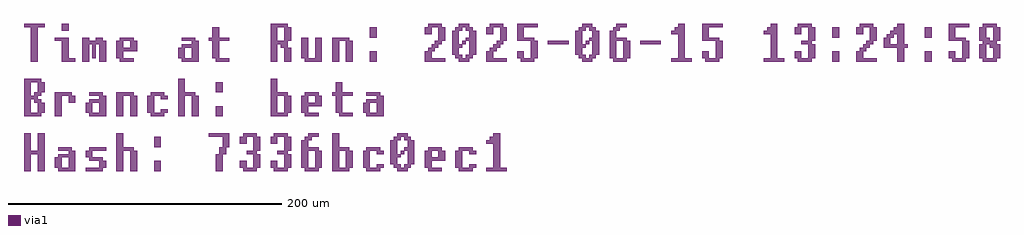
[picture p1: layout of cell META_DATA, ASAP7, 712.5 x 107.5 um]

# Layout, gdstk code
import gdstk
lib = gdstk.Library(unit=1e-6, precision=1e-10)
def R(c, l, rs):  # rectangles x0, y0, x1, y1
    for r in rs: c.add(gdstk.rectangle(r[:2], r[2:], *l))
def P(c, l, *ps):  # polygons
    for p in ps: c.add(gdstk.Polygon(p, *l))
via1 = (21, 0)

meta_data = lib.new_cell('META_DATA')
R(meta_data, via1, [(97.5,7.5,102.5,15), (277.5,20,280,22.5), (97.5,25,102.5,32.5), (142.5,47.5,147.5,55), (142.5,65,147.5,72.5), (255,87.5,260,95), (592.5,87.5,597.5,95), (660,87.5,665,95), (322.5,100,325,102.5), (385,100,400,102.5), (412.5,100,415,102.5), (452.5,100,467.5,102.5), (255,105,260,112.5), (592.5,105,597.5,112.5), (660,105,665,112.5), (30,110,35,115)])
P(meta_data, via1, [(7.5,7.5),(7.5,20),(12.5,20),(12.5,7.5),(17.5,7.5),(17.5,35),(12.5,35),(12.5,22.5),(7.5,22.5),(7.5,35),(2.5,35),(2.5,7.5)],
  [(37.5,22.5),(37.5,25),(27.5,25),(27.5,22.5),(35,22.5),(35,20),(27.5,20),(27.5,17.5),(25,17.5),(25,10),(30,10),(30,17.5),(35,17.5),(35,10),(30,10),(25,10),(27.5,10),(27.5,7.5),(40,7.5),(40,22.5)],
  [(47.5,17.5),(50,17.5),(50,15),(57.5,15),(57.5,10),(47.5,10),(47.5,7.5),(60,7.5),(60,10),(62.5,10),(62.5,15),(60,15),(60,17.5),(52.5,17.5),(52.5,22.5),(62.5,22.5),(62.5,25),(50,25),(50,22.5),(47.5,22.5)],
  [(75,7.5),(75,22.5),(80,22.5),(80,7.5),(85,7.5),(85,22.5),(82.5,22.5),(82.5,25),(75,25),(75,35),(70,35),(70,7.5)],
  [(147.5,25),(145,25),(145,20),(142.5,20),(142.5,7.5),(147.5,7.5),(147.5,20),(150,20),(150,25),(152.5,25),(152.5,35),(137.5,35),(137.5,32.5),(147.5,32.5)],
  [(162.5,10),(162.5,7.5),(172.5,7.5),(172.5,10),(175,10),(175,20),(172.5,20),(172.5,22.5),(175,22.5),(175,32.5),(172.5,32.5),(172.5,35),(162.5,35),(162.5,32.5),(160,32.5),(160,27.5),(165,27.5),(165,32.5),(170,32.5),(170,22.5),(165,22.5),(165,20),(170,20),(170,10),(165,10),(165,15),(160,15),(160,10)],
  [(185,10),(185,7.5),(195,7.5),(195,10),(197.5,10),(197.5,20),(195,20),(195,22.5),(197.5,22.5),(197.5,32.5),(195,32.5),(195,35),(185,35),(185,32.5),(182.5,32.5),(182.5,27.5),(187.5,27.5),(187.5,32.5),(192.5,32.5),(192.5,22.5),(187.5,22.5),(187.5,20),(192.5,20),(192.5,10),(187.5,10),(187.5,15),(182.5,15),(182.5,10)],
  [(220,22.5),(217.5,22.5),(217.5,25),(210,25),(210,30),(212.5,30),(212.5,32.5),(217.5,32.5),(217.5,35),(210,35),(210,32.5),(207.5,32.5),(207.5,30),(205,30),(205,10),(210,10),(210,22.5),(215,22.5),(215,10),(210,10),(205,10),(207.5,10),(207.5,7.5),(217.5,7.5),(217.5,10),(220,10)],
  [(242.5,22.5),(240,22.5),(240,25),(232.5,25),(232.5,35),(227.5,35),(227.5,10),(232.5,10),(232.5,22.5),(237.5,22.5),(237.5,10),(232.5,10),(227.5,10),(227.5,7.5),(240,7.5),(240,10),(242.5,10)],
  [(250,10),(252.5,10),(252.5,7.5),(262.5,7.5),(262.5,10),(265,10),(265,12.5),(260,12.5),(260,10),(255,10),(255,22.5),(260,22.5),(260,20),(265,20),(265,22.5),(262.5,22.5),(262.5,25),(252.5,25),(252.5,22.5),(250,22.5)],
  [(285,12.5),(287.5,12.5),(287.5,30),(285,30),(285,32.5),(282.5,32.5),(282.5,35),(275,35),(275,32.5),(272.5,32.5),(272.5,30),(270,30),(270,12.5),(275,12.5),(275,17.5),(277.5,17.5),(277.5,20),(275,20),(275,30),(277.5,30),(277.5,32.5),(280,32.5),(280,30),(282.5,30),(282.5,25),(280,25),(280,22.5),(282.5,22.5),(282.5,12.5),(280,12.5),(280,10),(277.5,10),(277.5,12.5),(275,12.5),(270,12.5),(272.5,12.5),(272.5,10),(275,10),(275,7.5),(282.5,7.5),(282.5,10),(285,10)],
  [(297.5,10),(297.5,7.5),(307.5,7.5),(307.5,10),(300,10),(300,15),(310,15),(310,22.5),(307.5,22.5),(307.5,25),(297.5,25),(297.5,22.5),(295,22.5),(295,17.5),(300,17.5),(300,22.5),(305,22.5),(305,17.5),(300,17.5),(295,17.5),(295,10)],
  [(317.5,10),(320,10),(320,7.5),(330,7.5),(330,10),(332.5,10),(332.5,12.5),(327.5,12.5),(327.5,10),(322.5,10),(322.5,22.5),(327.5,22.5),(327.5,20),(332.5,20),(332.5,22.5),(330,22.5),(330,25),(320,25),(320,22.5),(317.5,22.5)],
  [(342.5,30),(340,30),(340,27.5),(345,27.5),(345,10),(340,10),(340,7.5),(355,7.5),(355,10),(350,10),(350,35),(345,35),(345,32.5),(342.5,32.5)],
  [(17.5,57.5),(15,57.5),(15,60),(12.5,60),(12.5,62.5),(15,62.5),(15,65),(17.5,65),(17.5,72.5),(15,72.5),(15,75),(2.5,75),(2.5,62.5),(7.5,62.5),(7.5,72.5),(12.5,72.5),(12.5,65),(10,65),(10,62.5),(7.5,62.5),(2.5,62.5),(2.5,50),(7.5,50),(7.5,60),(10,60),(10,57.5),(12.5,57.5),(12.5,50),(7.5,50),(2.5,50),(2.5,47.5),(15,47.5),(15,50),(17.5,50)],
  [(30,47.5),(30,62.5),(35,62.5),(35,57.5),(40,57.5),(40,62.5),(37.5,62.5),(37.5,65),(25,65),(25,47.5)],
  [(60,62.5),(60,65),(50,65),(50,62.5),(57.5,62.5),(57.5,60),(50,60),(50,57.5),(47.5,57.5),(47.5,50),(52.5,50),(52.5,57.5),(57.5,57.5),(57.5,50),(52.5,50),(47.5,50),(50,50),(50,47.5),(62.5,47.5),(62.5,62.5)],
  [(75,47.5),(75,62.5),(80,62.5),(80,47.5),(85,47.5),(85,62.5),(82.5,62.5),(82.5,65),(70,65),(70,47.5)],
  [(92.5,50),(95,50),(95,47.5),(105,47.5),(105,50),(107.5,50),(107.5,52.5),(102.5,52.5),(102.5,50),(97.5,50),(97.5,62.5),(102.5,62.5),(102.5,60),(107.5,60),(107.5,62.5),(105,62.5),(105,65),(95,65),(95,62.5),(92.5,62.5)],
  [(120,47.5),(120,62.5),(125,62.5),(125,47.5),(130,47.5),(130,62.5),(127.5,62.5),(127.5,65),(120,65),(120,75),(115,75),(115,47.5)],
  [(197.5,62.5),(195,62.5),(195,65),(187.5,65),(187.5,75),(182.5,75),(182.5,50),(187.5,50),(187.5,62.5),(192.5,62.5),(192.5,50),(187.5,50),(182.5,50),(182.5,47.5),(195,47.5),(195,50),(197.5,50)],
  [(207.5,50),(207.5,47.5),(217.5,47.5),(217.5,50),(210,50),(210,55),(220,55),(220,62.5),(217.5,62.5),(217.5,65),(207.5,65),(207.5,62.5),(205,62.5),(205,57.5),(210,57.5),(210,62.5),(215,62.5),(215,57.5),(210,57.5),(205,57.5),(205,50)],
  [(227.5,65),(227.5,62.5),(230,62.5),(230,50),(232.5,50),(232.5,47.5),(242.5,47.5),(242.5,50),(235,50),(235,62.5),(242.5,62.5),(242.5,65),(235,65),(235,72.5),(230,72.5),(230,65)],
  [(262.5,62.5),(262.5,65),(252.5,65),(252.5,62.5),(260,62.5),(260,60),(252.5,60),(252.5,57.5),(250,57.5),(250,50),(255,50),(255,57.5),(260,57.5),(260,50),(255,50),(250,50),(252.5,50),(252.5,47.5),(265,47.5),(265,62.5)],
  [(12.5,87.5),(12.5,112.5),(17.5,112.5),(17.5,115),(2.5,115),(2.5,112.5),(7.5,112.5),(7.5,87.5)],
  [(30,87.5),(40,87.5),(40,90),(35,90),(35,105),(25,105),(25,102.5),(30,102.5)],
  [(50,87.5),(50,100),(52.5,100),(52.5,90),(55,90),(55,100),(57.5,100),(57.5,87.5),(62.5,87.5),(62.5,102.5),(60,102.5),(60,105),(55,105),(55,102.5),(50,102.5),(50,105),(45,105),(45,87.5)],
  [(72.5,90),(72.5,87.5),(82.5,87.5),(82.5,90),(75,90),(75,95),(85,95),(85,102.5),(82.5,102.5),(82.5,105),(72.5,105),(72.5,102.5),(70,102.5),(70,97.5),(75,97.5),(75,102.5),(80,102.5),(80,97.5),(75,97.5),(70,97.5),(70,90)],
  [(127.5,102.5),(127.5,105),(117.5,105),(117.5,102.5),(125,102.5),(125,100),(117.5,100),(117.5,97.5),(115,97.5),(115,90),(120,90),(120,97.5),(125,97.5),(125,90),(120,90),(115,90),(117.5,90),(117.5,87.5),(130,87.5),(130,102.5)],
  [(137.5,105),(137.5,102.5),(140,102.5),(140,90),(142.5,90),(142.5,87.5),(152.5,87.5),(152.5,90),(145,90),(145,102.5),(152.5,102.5),(152.5,105),(145,105),(145,112.5),(140,112.5),(140,105)],
  [(187.5,87.5),(187.5,100),(190,100),(190,97.5),(192.5,97.5),(192.5,87.5),(197.5,87.5),(197.5,97.5),(195,97.5),(195,102.5),(197.5,102.5),(197.5,112.5),(195,112.5),(195,115),(182.5,115),(182.5,102.5),(187.5,102.5),(187.5,112.5),(192.5,112.5),(192.5,102.5),(187.5,102.5),(182.5,102.5),(182.5,87.5)],
  [(207.5,90),(207.5,87.5),(220,87.5),(220,105),(215,105),(215,90),(210,90),(210,105),(205,105),(205,90)],
  [(232.5,87.5),(232.5,102.5),(237.5,102.5),(237.5,87.5),(242.5,87.5),(242.5,102.5),(240,102.5),(240,105),(227.5,105),(227.5,87.5)],
  [(295,107.5),(300,107.5),(300,112.5),(305,112.5),(305,102.5),(302.5,102.5),(302.5,100),(300,100),(300,97.5),(297.5,97.5),(297.5,95),(295,95),(295,87.5),(310,87.5),(310,90),(300,90),(300,95),(302.5,95),(302.5,97.5),(305,97.5),(305,100),(307.5,100),(307.5,102.5),(310,102.5),(310,112.5),(307.5,112.5),(307.5,115),(297.5,115),(297.5,112.5),(295,112.5)],
  [(330,92.5),(332.5,92.5),(332.5,110),(330,110),(330,112.5),(327.5,112.5),(327.5,115),(320,115),(320,112.5),(317.5,112.5),(317.5,110),(315,110),(315,92.5),(320,92.5),(320,97.5),(322.5,97.5),(322.5,100),(320,100),(320,110),(322.5,110),(322.5,112.5),(325,112.5),(325,110),(327.5,110),(327.5,105),(325,105),(325,102.5),(327.5,102.5),(327.5,92.5),(325,92.5),(325,90),(322.5,90),(322.5,92.5),(320,92.5),(315,92.5),(317.5,92.5),(317.5,90),(320,90),(320,87.5),(327.5,87.5),(327.5,90),(330,90)],
  [(340,107.5),(345,107.5),(345,112.5),(350,112.5),(350,102.5),(347.5,102.5),(347.5,100),(345,100),(345,97.5),(342.5,97.5),(342.5,95),(340,95),(340,87.5),(355,87.5),(355,90),(345,90),(345,95),(347.5,95),(347.5,97.5),(350,97.5),(350,100),(352.5,100),(352.5,102.5),(355,102.5),(355,112.5),(352.5,112.5),(352.5,115),(342.5,115),(342.5,112.5),(340,112.5)],
  [(365,90),(365,87.5),(375,87.5),(375,90),(377.5,90),(377.5,102.5),(375,102.5),(375,105),(367.5,105),(367.5,112.5),(377.5,112.5),(377.5,115),(362.5,115),(362.5,102.5),(372.5,102.5),(372.5,90),(367.5,90),(367.5,95),(362.5,95),(362.5,90)],
  [(420,92.5),(422.5,92.5),(422.5,110),(420,110),(420,112.5),(417.5,112.5),(417.5,115),(410,115),(410,112.5),(407.5,112.5),(407.5,110),(405,110),(405,92.5),(410,92.5),(410,97.5),(412.5,97.5),(412.5,100),(410,100),(410,110),(412.5,110),(412.5,112.5),(415,112.5),(415,110),(417.5,110),(417.5,105),(415,105),(415,102.5),(417.5,102.5),(417.5,92.5),(415,92.5),(415,90),(412.5,90),(412.5,92.5),(410,92.5),(405,92.5),(407.5,92.5),(407.5,90),(410,90),(410,87.5),(417.5,87.5),(417.5,90),(420,90)],
  [(445,102.5),(442.5,102.5),(442.5,105),(435,105),(435,110),(437.5,110),(437.5,112.5),(442.5,112.5),(442.5,115),(435,115),(435,112.5),(432.5,112.5),(432.5,110),(430,110),(430,90),(435,90),(435,102.5),(440,102.5),(440,90),(435,90),(430,90),(432.5,90),(432.5,87.5),(442.5,87.5),(442.5,90),(445,90)],
  [(477.5,110),(475,110),(475,107.5),(480,107.5),(480,90),(475,90),(475,87.5),(490,87.5),(490,90),(485,90),(485,115),(480,115),(480,112.5),(477.5,112.5)],
  [(500,90),(500,87.5),(510,87.5),(510,90),(512.5,90),(512.5,102.5),(510,102.5),(510,105),(502.5,105),(502.5,112.5),(512.5,112.5),(512.5,115),(497.5,115),(497.5,102.5),(507.5,102.5),(507.5,90),(502.5,90),(502.5,95),(497.5,95),(497.5,90)],
  [(545,110),(542.5,110),(542.5,107.5),(547.5,107.5),(547.5,90),(542.5,90),(542.5,87.5),(557.5,87.5),(557.5,90),(552.5,90),(552.5,115),(547.5,115),(547.5,112.5),(545,112.5)],
  [(567.5,90),(567.5,87.5),(577.5,87.5),(577.5,90),(580,90),(580,100),(577.5,100),(577.5,102.5),(580,102.5),(580,112.5),(577.5,112.5),(577.5,115),(567.5,115),(567.5,112.5),(565,112.5),(565,107.5),(570,107.5),(570,112.5),(575,112.5),(575,102.5),(570,102.5),(570,100),(575,100),(575,90),(570,90),(570,95),(565,95),(565,90)],
  [(610,107.5),(615,107.5),(615,112.5),(620,112.5),(620,102.5),(617.5,102.5),(617.5,100),(615,100),(615,97.5),(612.5,97.5),(612.5,95),(610,95),(610,87.5),(625,87.5),(625,90),(615,90),(615,95),(617.5,95),(617.5,97.5),(620,97.5),(620,100),(622.5,100),(622.5,102.5),(625,102.5),(625,112.5),(622.5,112.5),(622.5,115),(612.5,115),(612.5,112.5),(610,112.5)],
  [(645,87.5),(645,97.5),(647.5,97.5),(647.5,100),(645,100),(645,115),(640,115),(640,112.5),(637.5,112.5),(637.5,110),(635,110),(635,107.5),(632.5,107.5),(632.5,105),(630,105),(630,100),(635,100),(635,105),(637.5,105),(637.5,107.5),(640,107.5),(640,100),(635,100),(630,100),(630,97.5),(640,97.5),(640,87.5)],
  [(680,90),(680,87.5),(690,87.5),(690,90),(692.5,90),(692.5,102.5),(690,102.5),(690,105),(682.5,105),(682.5,112.5),(692.5,112.5),(692.5,115),(677.5,115),(677.5,102.5),(687.5,102.5),(687.5,90),(682.5,90),(682.5,95),(677.5,95),(677.5,90)],
  [(715,100),(712.5,100),(712.5,102.5),(715,102.5),(715,112.5),(712.5,112.5),(712.5,115),(702.5,115),(702.5,112.5),(700,112.5),(700,105),(705,105),(705,112.5),(710,112.5),(710,102.5),(707.5,102.5),(707.5,105),(705,105),(700,105),(700,102.5),(702.5,102.5),(702.5,100),(700,100),(700,90),(705,90),(705,100),(707.5,100),(707.5,97.5),(710,97.5),(710,90),(705,90),(700,90),(702.5,90),(702.5,87.5),(712.5,87.5),(712.5,90),(715,90)])

lib.write_gds('META_DATA.gds')
